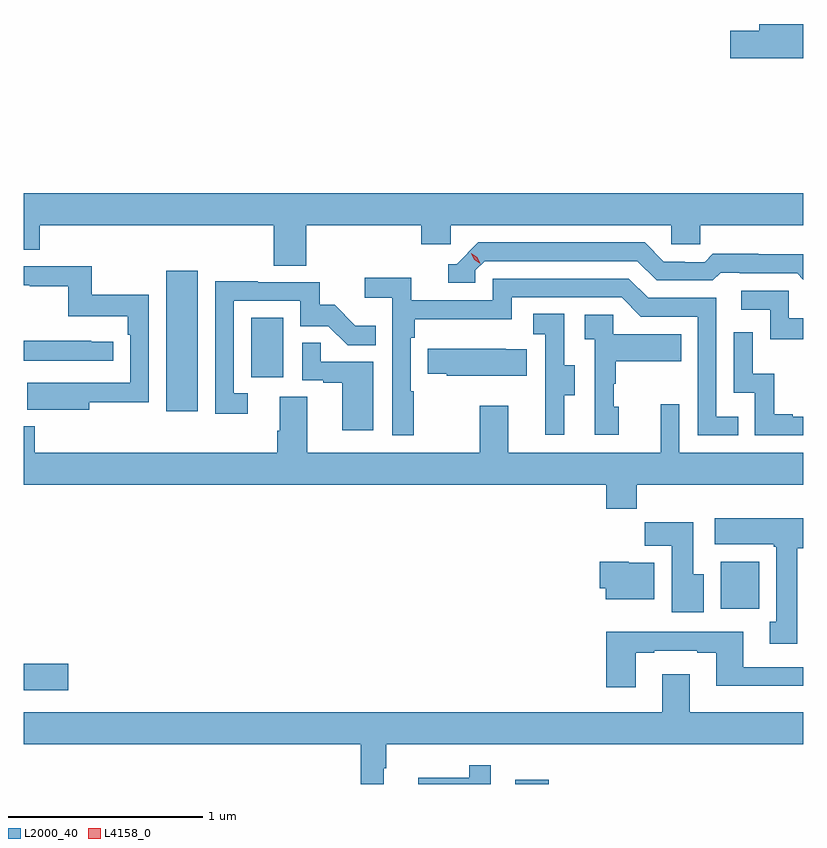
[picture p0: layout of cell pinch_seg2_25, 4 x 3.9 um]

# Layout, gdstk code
import gdstk
lib = gdstk.Library(unit=1e-6, precision=1e-09)
def R(c, l, rs):  # rectangles x0, y0, x1, y1
    for r in rs: c.add(gdstk.rectangle(r[:2], r[2:], *l))
def P(c, l, *ps):  # polygons
    for p in ps: c.add(gdstk.Polygon(p, *l))
L2000_40 = (2000, 40)
L4158_0 = (4158, 0)

pinch_seg2_25 = lib.new_cell('pinch_seg2_25')
R(pinch_seg2_25, L2000_40, [(1104.626,647.433,1104.797,647.455), (1102.103,647.915,1102.333,648.05), (1105.679,648.332,1105.876,648.574), (1102.835,649.344,1102.996,650.065), (1103.27,649.518,1103.434,649.825)])
P(pinch_seg2_25, L2000_40, [(1106.103,651.331),(1105.877,651.331),(1105.877,651.297),(1105.728,651.297),(1105.728,651.155),(1106.103,651.155)],
  [(1103.552,650.3),(1104.143,650.3),(1104.143,650.202),(1104.294,650.202),(1104.294,650.3),(1105.425,650.3),(1105.425,650.202),(1105.575,650.202),(1105.575,650.3),(1106.103,650.3),(1106.103,650.464),(1102.103,650.464),(1102.103,650.173),(1102.187,650.173),(1102.187,650.3),(1103.387,650.3),(1103.387,650.092),(1103.552,650.092)],
  [(1104.42,650.067),(1104.468,650.115),(1105.251,650.115),(1105.35,650.016),(1105.639,650.016),(1105.678,650.055),(1105.777,650.055),(1105.777,650.052),(1106.07,650.052),(1106.103,650.019),(1106.103,650.149),(1105.872,650.149),(1105.872,650.152),(1105.639,650.152),(1105.597,650.109),(1105.494,650.109),(1105.494,650.112),(1105.387,650.112),(1105.288,650.211),(1104.435,650.211),(1104.324,650.1),(1104.281,650.1),(1104.281,650.004),(1104.42,650.004)],
  [(1102.441,649.39),(1102.746,649.39),(1102.746,649.942),(1102.453,649.942),(1102.453,650.088),(1102.103,650.088),(1102.103,649.992),(1102.135,649.992),(1102.135,649.987),(1102.332,649.987),(1102.332,649.832),(1102.637,649.832),(1102.637,649.736),(1102.65,649.736),(1102.65,649.491),(1102.337,649.491),(1102.337,649.492),(1102.123,649.492),(1102.123,649.352),(1102.441,649.352)],
  [(1104.103,649.448),(1104.09,649.448),(1104.09,649.721),(1104.11,649.721),(1104.11,649.817),(1104.606,649.817),(1104.606,649.929),(1105.17,649.929),(1105.269,649.83),(1105.56,649.83),(1105.56,649.221),(1105.769,649.221),(1105.769,649.317),(1105.656,649.317),(1105.656,649.926),(1105.306,649.926),(1105.207,650.025),(1104.51,650.025),(1104.51,649.914),(1104.092,649.914),(1104.092,650.03),(1103.853,650.03),(1103.853,649.928),(1103.994,649.928),(1103.994,649.221),(1104.103,649.221)],
  [(1103.254,649.437),(1103.181,649.437),(1103.181,649.911),(1103.523,649.911),(1103.523,649.782),(1103.667,649.782),(1103.765,649.684),(1103.909,649.684),(1103.909,649.783),(1103.805,649.783),(1103.698,649.89),(1103.622,649.89),(1103.622,650.007),(1103.303,650.007),(1103.303,650.012),(1103.085,650.012),(1103.085,649.332),(1103.254,649.332)],
  [(1106.103,649.821),(1106.028,649.821),(1106.028,649.962),(1105.785,649.962),(1105.785,649.866),(1105.932,649.866),(1105.932,649.713),(1106.103,649.713)],
  [(1104.877,649.426),(1104.931,649.426),(1104.931,649.581),(1104.876,649.581),(1104.876,649.844),(1104.717,649.844),(1104.717,649.741),(1104.78,649.741),(1104.78,649.437),(1104.779,649.437),(1104.779,649.224),(1104.877,649.224)],
  [(1105.156,649.368),(1105.131,649.368),(1105.131,649.487),(1105.141,649.487),(1105.141,649.601),(1105.475,649.601),(1105.475,649.741),(1105.128,649.741),(1105.128,649.839),(1104.981,649.839),(1104.981,649.715),(1105.032,649.715),(1105.032,649.224),(1105.156,649.224)],
  [(1106.103,649.317),(1106.047,649.317),(1106.047,649.33),(1105.952,649.33),(1105.952,649.538),(1105.842,649.538),(1105.842,649.75),(1105.746,649.75),(1105.746,649.44),(1105.854,649.44),(1105.854,649.221),(1106.103,649.221)],
  [(1102.564,649.701),(1102.451,649.701),(1102.451,649.706),(1102.103,649.706),(1102.103,649.605),(1102.564,649.605)],
  [(1103.896,649.599),(1103.627,649.599),(1103.627,649.697),(1103.532,649.697),(1103.532,649.503),(1103.639,649.503),(1103.639,649.491),(1103.738,649.491),(1103.738,649.248),(1103.896,649.248)],
  [(1104.683,649.663),(1104.575,649.663),(1104.575,649.666),(1104.175,649.666),(1104.175,649.537),(1104.273,649.537),(1104.273,649.526),(1104.683,649.526)],
  [(1105.247,648.968),(1106.103,648.968),(1106.103,649.132),(1105.467,649.132),(1105.467,649.381),(1105.37,649.381),(1105.37,649.132),(1104.589,649.132),(1104.589,649.372),(1104.442,649.372),(1104.442,649.132),(1103.557,649.132),(1103.557,649.418),(1103.417,649.418),(1103.417,649.244),(1103.405,649.244),(1103.405,649.132),(1102.16,649.132),(1102.16,649.267),(1102.103,649.267),(1102.103,648.968),(1105.091,648.968),(1105.091,648.844),(1105.247,648.844)],
  [(1106.071,648.642),(1106.103,648.642),(1106.103,648.796),(1105.647,648.796),(1105.647,648.662),(1105.951,648.662),(1105.951,648.649),(1105.964,648.649),(1105.964,648.266),(1105.931,648.266),(1105.931,648.153),(1106.071,648.153)],
  [(1105.591,648.508),(1105.537,648.508),(1105.537,648.775),(1105.288,648.775),(1105.288,648.656),(1105.427,648.656),(1105.427,648.315),(1105.591,648.315)],
  [(1105.339,648.568),(1105.206,648.568),(1105.206,648.574),(1105.058,648.574),(1105.058,648.438),(1105.088,648.438),(1105.088,648.38),(1105.339,648.38)],
  [(1105.243,648.105),(1105.339,648.105),(1105.339,648.117),(1105.559,648.117),(1105.559,648.105),(1105.655,648.105),(1105.655,647.936),(1106.103,647.936),(1106.103,648.033),(1105.795,648.033),(1105.795,648.213),(1105.331,648.213),(1105.331,648.214),(1105.091,648.214),(1105.091,647.928),(1105.243,647.928)],
  [(1103.95,647.513),(1103.962,647.513),(1103.962,647.636),(1106.103,647.636),(1106.103,647.8),(1105.519,647.8),(1105.519,647.995),(1105.379,647.995),(1105.379,647.8),(1102.103,647.8),(1102.103,647.636),(1103.833,647.636),(1103.833,647.433),(1103.95,647.433)],
  [(1104.498,647.53),(1104.39,647.53),(1104.39,647.464),(1104.128,647.464),(1104.128,647.433),(1104.498,647.433)])
P(pinch_seg2_25, L4158_0, [(1104.445,650.102),(1104.414,650.122),(1104.399,650.155),(1104.399,650.155),(1104.4,650.155),(1104.43,650.135),(1104.445,650.102),(1104.445,650.102)])

lib.write_gds('pinch_seg2_25.gds')
